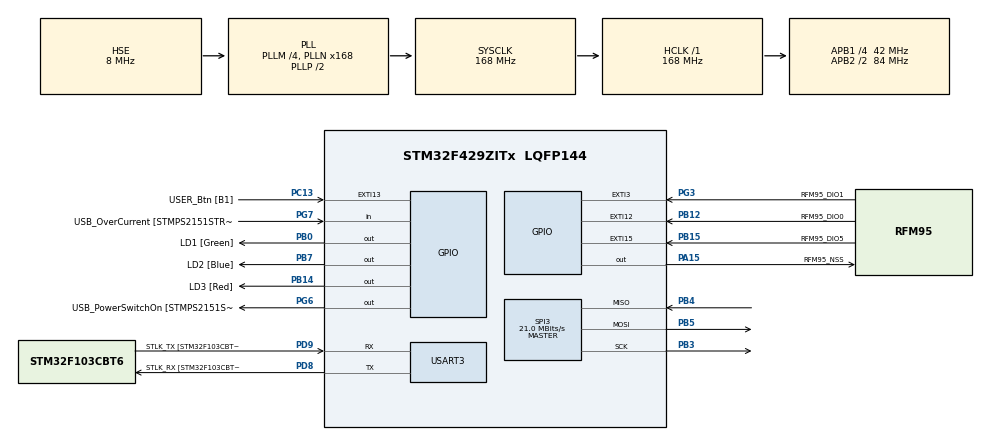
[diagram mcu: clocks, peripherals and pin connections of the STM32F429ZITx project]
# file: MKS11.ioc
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Mcu.Family=STM32F4
Mcu.Name=STM32F429ZITx
Mcu.Package=LQFP144
NVIC.EXTI15_10_IRQn=true\:0\:0\:false\:false\:true\:true\:true\:true
NVIC.EXTI3_IRQn=true\:0\:0\:false\:false\:true\:true\:true\:true
NVIC.PriorityGroup=NVIC_PRIORITYGROUP_4
PA13.GPIO_Label=TMS
PA13.Mode=Serial_Wire
PA13.Signal=SYS_JTMS-SWDIO
PA14.GPIO_Label=TCK
PA14.Mode=Serial_Wire
PA14.Signal=SYS_JTCK-SWCLK
PA15.GPIO_Label=RFM95_NSS
PA15.Signal=GPIO_Output
PB0.GPIO_Label=LD1 [Green]
PB0.Signal=GPIO_Output
PB12.GPIO_Label=RFM95_DIO0
PB12.Signal=GPXTI12
PB13.GPIO_Label=RMII_TXD1 [LAN8742A-CZ-TR_TXD1]
PB13.Signal=ETH_TXD1
PB14.GPIO_Label=LD3 [Red]
PB14.Signal=GPIO_Output
PB15.GPIO_Label=RFM95_DIO5
PB15.Signal=GPXTI15
PB3.Mode=Full_Duplex_Master
PB3.Signal=SPI3_SCK
PB4.Mode=Full_Duplex_Master
PB4.Signal=SPI3_MISO
PB5.Mode=Full_Duplex_Master
PB5.Signal=SPI3_MOSI
PB7.GPIO_Label=LD2 [Blue]
PB7.Signal=GPIO_Output
PC13.GPIO_Label=USER_Btn [B1]
PC13.Signal=GPXTI13
PC14/OSC32_IN.Mode=LSE-External-Oscillator
PC14/OSC32_IN.Signal=RCC_OSC32_IN
PC15/OSC32_OUT.Mode=LSE-External-Oscillator
PC15/OSC32_OUT.Signal=RCC_OSC32_OUT
PD8.GPIO_Label=STLK_RX [STM32F103CBT6_PA3]
PD8.Mode=Asynchronous
PD8.Signal=USART3_TX
PD9.GPIO_Label=STLK_TX [STM32F103CBT6_PA2]
PD9.Mode=Asynchronous
PD9.Signal=USART3_RX
PG3.GPIO_Label=RFM95_DIO1
PG3.Signal=GPXTI3
PG6.GPIO_Label=USB_PowerSwitchOn [STMPS2151STR_EN]
PG6.Signal=GPIO_Output
PG7.GPIO_Label=USB_OverCurrent [STMPS2151STR_FAULT]
PG7.Signal=GPIO_Input
PH0/OSC_IN.GPIO_Label=MCO [STM32F103CBT6_PA8]
PH0/OSC_IN.Mode=HSE-External-Clock-Source
PH0/OSC_IN.Signal=RCC_OSC_IN
PH1/OSC_OUT.Mode=HSE-External-Clock-Source
PH1/OSC_OUT.Signal=RCC_OSC_OUT
ProjectManager.HeapSize=0x200
ProjectManager.StackSize=0x400
ProjectManager.TargetToolchain=STM32CubeIDE
RCC.48MHZClocksFreq_Value=48000000
RCC.AHBFreq_Value=168000000
RCC.APB1CLKDivider=RCC_HCLK_DIV4
RCC.APB1Freq_Value=42000000
RCC.APB1TimFreq_Value=84000000
RCC.APB2CLKDivider=RCC_HCLK_DIV2
RCC.APB2Freq_Value=84000000
RCC.APB2TimCLKDivider=2
RCC.APB2TimFreq_Value=168000000
RCC.CortexFreq_Value=168000000
RCC.HCLKFreq_Value=168000000
RCC.HSE_VALUE=8000000
RCC.HSI_VALUE=16000000
RCC.PLLM=4
RCC.PLLMUL=RCC_PLL_MUL9
RCC.PLLN=168
RCC.PLLQ=7
RCC.PLLSourceVirtual=RCC_PLLSOURCE_HSE
RCC.PRESCALERUSB=RCC_USBCLKSOURCE_PLL_DIV1_5
RCC.SYSCLKFreq_VALUE=168000000
RCC.SYSCLKSource=RCC_SYSCLKSOURCE_PLLCLK
RCC.SYSCLKSourceVirtual=RCC_SYSCLKSOURCE_PLLCLK
RCC.USBFreq_Value=48000000
RCC.VCOOutputFreq_Value=336000000
SPI3.CalculateBaudRate=21.0 MBits/s
SPI3.Direction=SPI_DIRECTION_2LINES
SPI3.Mode=SPI_MODE_MASTER
SPI3.VirtualType=VM_MASTER
TIM2.Prescaler=4199
USART3.VirtualMode=VM_ASYNC
VP_RNG_VS_RNG.Mode=RNG_Activate
VP_TIM2_VS_ClockSourceINT.Mode=Internal
board=NUCLEO-F429ZI

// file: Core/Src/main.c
/* USER CODE BEGIN Header */
/**
  ******************************************************************************
  * @file           : main.c
  * @brief          : Main program body
  ******************************************************************************
  * @attention
  *
  * Copyright (c) 2025 STMicroelectronics.
  * All rights reserved.
  *
  * This software is licensed under terms that can be found in the LICENSE file
  * in the root directory of this software component.
  * If no LICENSE file comes with this software, it is provided AS-IS.
  *
  ******************************************************************************
  */
/* USER CODE END Header */
#include "main.h"

/* USER CODE BEGIN Includes */
#include <stdio.h>
#include "rfm95.h"
#include <string.h>
/* USER CODE END Includes */

/* USER CODE BEGIN PD */
#define MSG_TIME 30000
#define BTN_TIME 5000
/* USER CODE END PD */

RNG_HandleTypeDef hrng;

SPI_HandleTypeDef hspi3;

TIM_HandleTypeDef htim2;

UART_HandleTypeDef huart3;

/* USER CODE BEGIN PV */
uint32_t get_precision_tick() {
	return (__HAL_TIM_GET_COUNTER(&htim2));
}

void precision_sleep_until(uint32_t target_ticks) {
	while(get_precision_tick() < target_ticks) {
		//do nothing
	}
}

uint8_t random_int(uint8_t max) {
	uint32_t rng;
	HAL_RNG_GenerateRandomNumber(&hrng, &rng);
	return (rng % (max + 1));
}

rfm95_handle_t rfm95_handle = {
		  .spi_handle = &hspi3,
		  .nss_port = RFM95_NSS_GPIO_Port,
		  .nss_pin = RFM95_NSS_Pin,
		  .device_address = { 0x26, 0x0B, 0x04, 0x73
		  },
		  .application_session_key = {
				  0x40, 0x0A, 0xE6, 0x65, 0x1A, 0xA8, 0x92, 0x92, 0x12, 0xC0, 0x08, 0xEC, 0xC2, 0xC1, 0x53, 0x72
		  },
		  .network_session_key = {
				  0x80, 0x70, 0x52, 0xDA, 0x22, 0x5F, 0x54, 0xC3, 0xB8, 0xDC, 0xAD, 0xA1, 0x8A, 0xF2, 0x85, 0x34
		  },
		  .receive_mode = RFM95_RECEIVE_MODE_NONE,
		  .precision_tick_frequency = 20000,
		  .get_precision_tick = get_precision_tick,
		  .precision_sleep_until = precision_sleep_until,
		  .random_int = random_int
 };

void HAL_GPIO_EXTI_Callback(uint16_t GPIO_Pin)
{
    if (GPIO_Pin == RFM95_DIO0_Pin) {
        rfm95_on_interrupt(&rfm95_handle, RFM95_INTERRUPT_DIO0);
    } else if (GPIO_Pin == RFM95_DIO1_Pin) {
        rfm95_on_interrupt(&rfm95_handle, RFM95_INTERRUPT_DIO1);
    } else if (GPIO_Pin == RFM95_DIO5_Pin) {
        rfm95_on_interrupt(&rfm95_handle, RFM95_INTERRUPT_DIO5);
    }
}
/* USER CODE END PV */

void SystemClock_Config(void);
static void MX_GPIO_Init(void);
static void MX_USART3_UART_Init(void);
static void MX_SPI3_Init(void);
static void MX_TIM2_Init(void);
static void MX_RNG_Init(void);

int main(void)
{

  /* MCU Configuration--------------------------------------------------------*/

  /* Reset of all peripherals, Initializes the Flash interface and the Systick. */
  HAL_Init();

  /* Configure the system clock */
  SystemClock_Config();

  /* Initialize all configured peripherals */
  MX_GPIO_Init();
  MX_USART3_UART_Init();
  MX_SPI3_Init();
  MX_TIM2_Init();
  MX_RNG_Init();
  /* USER CODE BEGIN 2 */
  HAL_TIM_Base_Start(&htim2);

  bool init = rfm95_init(&rfm95_handle);
  if (!init) {
	  HAL_GPIO_WritePin(LD3_GPIO_Port, LD3_Pin, 1);
	  while(1) {}
  }

  /* USER CODE END 2 */

  /* Infinite loop */
  /* USER CODE BEGIN WHILE */
  uint32_t Old_tick = HAL_GetTick();
  uint32_t Old_btn_tick = HAL_GetTick();
  uint32_t counter = 0;
  char send_data[32];
  while (1)
  {

	  if((Old_tick + MSG_TIME) <= HAL_GetTick() && (Old_btn_tick + BTN_TIME) <= HAL_GetTick()){
		  sprintf(send_data, "216915;%ld", counter++);
		  HAL_GPIO_WritePin(LD2_GPIO_Port, LD2_Pin, 1);
		  rfm95_send_receive_cycle(&rfm95_handle, (uint8_t*)send_data, strlen(send_data));
		  HAL_GPIO_WritePin(LD2_GPIO_Port, LD2_Pin, 0);

		  Old_tick = HAL_GetTick();
	  }

	  if((HAL_GPIO_ReadPin(USER_Btn_GPIO_Port, USER_Btn_Pin) == GPIO_PIN_SET) && (Old_btn_tick + BTN_TIME) <= HAL_GetTick()) {
		  sprintf(send_data, "216915;press");
		  HAL_GPIO_WritePin(LD2_GPIO_Port, LD2_Pin, 1);
		  rfm95_send_receive_cycle(&rfm95_handle, (uint8_t*)send_data, strlen(send_data));
		  HAL_GPIO_WritePin(LD2_GPIO_Port, LD2_Pin, 0);

		  Old_btn_tick = HAL_GetTick();
	  }
    /* USER CODE END WHILE */

  }
}

void SystemClock_Config(void)
{
  RCC_OscInitTypeDef RCC_OscInitStruct = {0};
  RCC_ClkInitTypeDef RCC_ClkInitStruct = {0};

  /** Configure the main internal regulator output voltage
  */
  __HAL_RCC_PWR_CLK_ENABLE();
  __HAL_PWR_VOLTAGESCALING_CONFIG(PWR_REGULATOR_VOLTAGE_SCALE1);

  /** Initializes the RCC Oscillators according to the specified parameters
  * in the RCC_OscInitTypeDef structure.
  */
  RCC_OscInitStruct.OscillatorType = RCC_OSCILLATORTYPE_HSE;
  RCC_OscInitStruct.HSEState = RCC_HSE_BYPASS;
  RCC_OscInitStruct.PLL.PLLState = RCC_PLL_ON;
  RCC_OscInitStruct.PLL.PLLSource = RCC_PLLSOURCE_HSE;
  RCC_OscInitStruct.PLL.PLLM = 4;
  RCC_OscInitStruct.PLL.PLLN = 168;
  RCC_OscInitStruct.PLL.PLLP = RCC_PLLP_DIV2;
  RCC_OscInitStruct.PLL.PLLQ = 7;
  if (HAL_RCC_OscConfig(&RCC_OscInitStruct) != HAL_OK)
  {
    Error_Handler();
  }

  /** Initializes the CPU, AHB and APB buses clocks
  */
  RCC_ClkInitStruct.ClockType = RCC_CLOCKTYPE_HCLK|RCC_CLOCKTYPE_SYSCLK
                              |RCC_CLOCKTYPE_PCLK1|RCC_CLOCKTYPE_PCLK2;
  RCC_ClkInitStruct.SYSCLKSource = RCC_SYSCLKSOURCE_PLLCLK;
  RCC_ClkInitStruct.AHBCLKDivider = RCC_SYSCLK_DIV1;
  RCC_ClkInitStruct.APB1CLKDivider = RCC_HCLK_DIV4;
  RCC_ClkInitStruct.APB2CLKDivider = RCC_HCLK_DIV2;

  if (HAL_RCC_ClockConfig(&RCC_ClkInitStruct, FLASH_LATENCY_5) != HAL_OK)
  {
    Error_Handler();
  }
}

static void MX_RNG_Init(void)
{

  hrng.Instance = RNG;
  if (HAL_RNG_Init(&hrng) != HAL_OK)
  {
    Error_Handler();
  }

}

static void MX_SPI3_Init(void)
{

  /* SPI3 parameter configuration*/
  hspi3.Instance = SPI3;
  hspi3.Init.Mode = SPI_MODE_MASTER;
  hspi3.Init.Direction = SPI_DIRECTION_2LINES;
  hspi3.Init.DataSize = SPI_DATASIZE_8BIT;
  hspi3.Init.CLKPolarity = SPI_POLARITY_LOW;
  hspi3.Init.CLKPhase = SPI_PHASE_1EDGE;
  hspi3.Init.NSS = SPI_NSS_SOFT;
  hspi3.Init.BaudRatePrescaler = SPI_BAUDRATEPRESCALER_2;
  hspi3.Init.FirstBit = SPI_FIRSTBIT_MSB;
  hspi3.Init.TIMode = SPI_TIMODE_DISABLE;
  hspi3.Init.CRCCalculation = SPI_CRCCALCULATION_DISABLE;
  hspi3.Init.CRCPolynomial = 10;
  if (HAL_SPI_Init(&hspi3) != HAL_OK)
  {
    Error_Handler();
  }

}

static void MX_TIM2_Init(void)
{

  TIM_ClockConfigTypeDef sClockSourceConfig = {0};
  TIM_MasterConfigTypeDef sMasterConfig = {0};

  htim2.Instance = TIM2;
  htim2.Init.Prescaler = 4199;
  htim2.Init.CounterMode = TIM_COUNTERMODE_UP;
  htim2.Init.Period = 4294967295;
  htim2.Init.ClockDivision = TIM_CLOCKDIVISION_DIV1;
  htim2.Init.AutoReloadPreload = TIM_AUTORELOAD_PRELOAD_DISABLE;
  if (HAL_TIM_Base_Init(&htim2) != HAL_OK)
  {
    Error_Handler();
  }
  sClockSourceConfig.ClockSource = TIM_CLOCKSOURCE_INTERNAL;
  if (HAL_TIM_ConfigClockSource(&htim2, &sClockSourceConfig) != HAL_OK)
  {
    Error_Handler();
  }
  sMasterConfig.MasterOutputTrigger = TIM_TRGO_RESET;
  sMasterConfig.MasterSlaveMode = TIM_MASTERSLAVEMODE_DISABLE;
  if (HAL_TIMEx_MasterConfigSynchronization(&htim2, &sMasterConfig) != HAL_OK)
  {
    Error_Handler();
  }

}

static void MX_USART3_UART_Init(void)
{

  huart3.Instance = USART3;
  huart3.Init.BaudRate = 115200;
  huart3.Init.WordLength = UART_WORDLENGTH_8B;
  huart3.Init.StopBits = UART_STOPBITS_1;
  huart3.Init.Parity = UART_PARITY_NONE;
  huart3.Init.Mode = UART_MODE_TX_RX;
  huart3.Init.HwFlowCtl = UART_HWCONTROL_NONE;
  huart3.Init.OverSampling = UART_OVERSAMPLING_16;
  if (HAL_UART_Init(&huart3) != HAL_OK)
  {
    Error_Handler();
  }

}

static void MX_GPIO_Init(void)
{
  GPIO_InitTypeDef GPIO_InitStruct = {0};

  /* GPIO Ports Clock Enable */
  __HAL_RCC_GPIOC_CLK_ENABLE();
  __HAL_RCC_GPIOH_CLK_ENABLE();
  __HAL_RCC_GPIOB_CLK_ENABLE();
  __HAL_RCC_GPIOD_CLK_ENABLE();
  __HAL_RCC_GPIOG_CLK_ENABLE();
  __HAL_RCC_GPIOA_CLK_ENABLE();

  /*Configure GPIO pin Output Level */
  HAL_GPIO_WritePin(GPIOB, LD1_Pin|LD3_Pin|LD2_Pin, GPIO_PIN_RESET);

  /*Configure GPIO pin Output Level */
  HAL_GPIO_WritePin(USB_PowerSwitchOn_GPIO_Port, USB_PowerSwitchOn_Pin, GPIO_PIN_RESET);

  /*Configure GPIO pin Output Level */
  HAL_GPIO_WritePin(RFM95_NSS_GPIO_Port, RFM95_NSS_Pin, GPIO_PIN_RESET);

  /*Configure GPIO pin : USER_Btn_Pin */
  GPIO_InitStruct.Pin = USER_Btn_Pin;
  GPIO_InitStruct.Mode = GPIO_MODE_IT_RISING;
  GPIO_InitStruct.Pull = GPIO_NOPULL;
  HAL_GPIO_Init(USER_Btn_GPIO_Port, &GPIO_InitStruct);

  /*Configure GPIO pins : LD1_Pin LD3_Pin LD2_Pin */
  GPIO_InitStruct.Pin = LD1_Pin|LD3_Pin|LD2_Pin;
  GPIO_InitStruct.Mode = GPIO_MODE_OUTPUT_PP;
  GPIO_InitStruct.Pull = GPIO_NOPULL;
  GPIO_InitStruct.Speed = GPIO_SPEED_FREQ_LOW;
  HAL_GPIO_Init(GPIOB, &GPIO_InitStruct);

  /*Configure GPIO pins : RFM95_DIO0_Pin RFM95_DIO5_Pin */
  GPIO_InitStruct.Pin = RFM95_DIO0_Pin|RFM95_DIO5_Pin;
  GPIO_InitStruct.Mode = GPIO_MODE_IT_RISING;
  GPIO_InitStruct.Pull = GPIO_NOPULL;
  HAL_GPIO_Init(GPIOB, &GPIO_InitStruct);

  /*Configure GPIO pin : RMII_TXD1_Pin */
  GPIO_InitStruct.Pin = RMII_TXD1_Pin;
  GPIO_InitStruct.Mode = GPIO_MODE_AF_PP;
  GPIO_InitStruct.Pull = GPIO_NOPULL;
  GPIO_InitStruct.Speed = GPIO_SPEED_FREQ_VERY_HIGH;
  GPIO_InitStruct.Alternate = GPIO_AF11_ETH;
  HAL_GPIO_Init(RMII_TXD1_GPIO_Port, &GPIO_InitStruct);

  /*Configure GPIO pin : RFM95_DIO1_Pin */
  GPIO_InitStruct.Pin = RFM95_DIO1_Pin;
  GPIO_InitStruct.Mode = GPIO_MODE_IT_RISING;
  GPIO_InitStruct.Pull = GPIO_NOPULL;
  HAL_GPIO_Init(RFM95_DIO1_GPIO_Port, &GPIO_InitStruct);

  /*Configure GPIO pin : USB_PowerSwitchOn_Pin */
  GPIO_InitStruct.Pin = USB_PowerSwitchOn_Pin;
  GPIO_InitStruct.Mode = GPIO_MODE_OUTPUT_PP;
  GPIO_InitStruct.Pull = GPIO_NOPULL;
  GPIO_InitStruct.Speed = GPIO_SPEED_FREQ_LOW;
  HAL_GPIO_Init(USB_PowerSwitchOn_GPIO_Port, &GPIO_InitStruct);

  /*Configure GPIO pin : USB_OverCurrent_Pin */
  GPIO_InitStruct.Pin = USB_OverCurrent_Pin;
  GPIO_InitStruct.Mode = GPIO_MODE_INPUT;
  GPIO_InitStruct.Pull = GPIO_NOPULL;
  HAL_GPIO_Init(USB_OverCurrent_GPIO_Port, &GPIO_InitStruct);

  /*Configure GPIO pin : RFM95_NSS_Pin */
  GPIO_InitStruct.Pin = RFM95_NSS_Pin;
  GPIO_InitStruct.Mode = GPIO_MODE_OUTPUT_PP;
  GPIO_InitStruct.Pull = GPIO_NOPULL;
  GPIO_InitStruct.Speed = GPIO_SPEED_FREQ_LOW;
  HAL_GPIO_Init(RFM95_NSS_GPIO_Port, &GPIO_InitStruct);

  /* EXTI interrupt init*/
  HAL_NVIC_SetPriority(EXTI3_IRQn, 0, 0);
  HAL_NVIC_EnableIRQ(EXTI3_IRQn);

  HAL_NVIC_SetPriority(EXTI15_10_IRQn, 0, 0);
  HAL_NVIC_EnableIRQ(EXTI15_10_IRQn);

}

void Error_Handler(void)
{
  __disable_irq();
  while (1)
  {
  }
}
